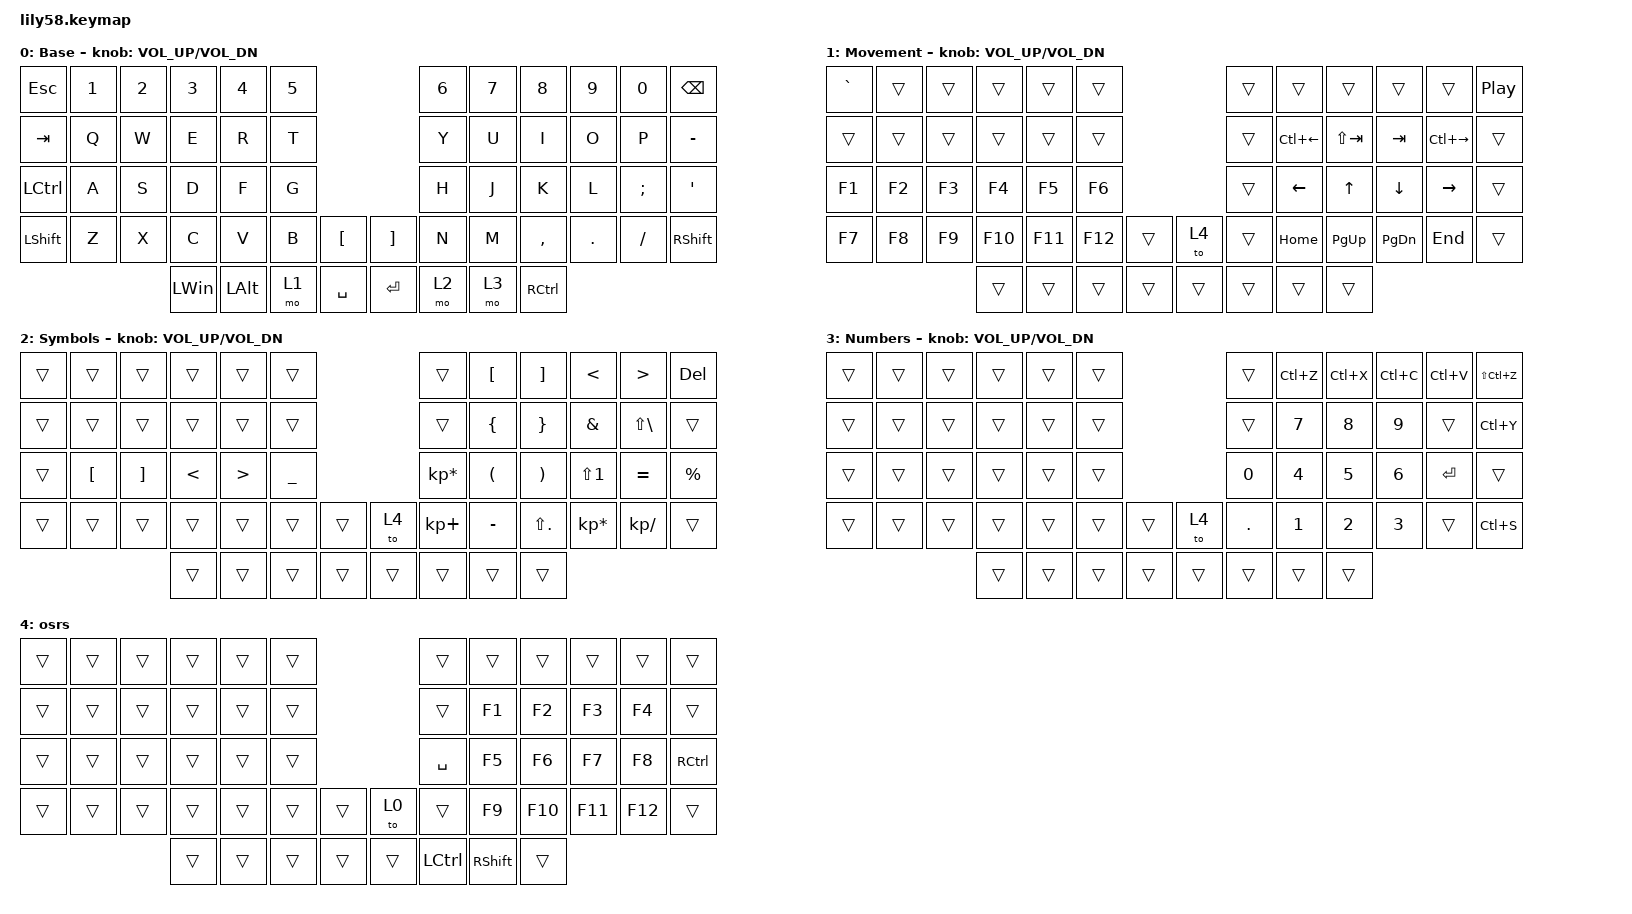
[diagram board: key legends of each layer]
/*
 * Copyright (c) 2020 The ZMK Contributors
 *
 * SPDX-License-Identifier: MIT
 */

#include <behaviors.dtsi>
#include <dt-bindings/zmk/keys.h>

/ {
    keymap {
        compatible = "zmk,keymap";

        default_layer {
            // ------------------------------------------------------------------------------------------------------------
            // |  ESC  |  1  |  2  |  3   |  4   |  5   |                   |  6   |  7    |  8    |  9   |   0   |   `   |
            // |  TAB  |  Q  |  W  |  E   |  R   |  T   |                   |  Y   |  U    |  I    |  O   |   P   |   -   |
            // |  CTRL |  A  |  S  |  D   |  F   |  G   |                   |  H   |  J    |  K    |  L   |   ;   |   '   |
            // | SHIFT |  Z  |  X  |  C   |  V   |  B   |   "["  |  |  "]"  |  N   |  M    |  ,    |  .   |   /   | SHIFT |
            //                     | ALT  | GUI  | LOWER|  SPACE |  | ENTER | RAISE| BSPC  | GUI   |

            display-name = "Base";
            bindings = <
&kp ESC           &kp N1  &kp N2  &kp N3        &kp N4        &kp N5                                  &kp N6  &kp N7  &kp N8             &kp N9   &kp N0    &kp BACKSPACE
&kp TAB           &kp Q   &kp W   &kp E         &kp R         &kp T                                   &kp Y   &kp U   &kp I              &kp O    &kp P     &kp MINUS
&kp LEFT_CONTROL  &kp A   &kp S   &kp D         &kp F         &kp G                                   &kp H   &kp J   &kp K              &kp L    &kp SEMI  &kp SQT
&kp LEFT_SHIFT    &kp Z   &kp X   &kp C         &kp V         &kp B   &kp LBKT     &kp RIGHT_BRACKET  &kp N   &kp M   &kp COMMA          &kp DOT  &kp FSLH  &kp RSHFT
                                  &kp LEFT_WIN  &kp LEFT_ALT  &mo 1   &kp SPACE    &kp RET            &mo 2   &mo 3   &kp RIGHT_CONTROL
            >;

            sensor-bindings = <&inc_dec_kp C_VOL_UP C_VOL_DN>;
        };

        movement {
            display-name = "Movement";
            bindings = <
&kp GRAVE  &trans  &trans  &trans   &trans   &trans                     &trans  &trans        &trans        &trans         &trans         &kp C_PLAY_PAUSE
&trans     &trans  &trans  &trans   &trans   &trans                     &trans  &kp LC(LEFT)  &kp LS(TAB)   &kp TAB        &kp LC(RIGHT)  &trans
&kp F1     &kp F2  &kp F3  &kp F4   &kp F5   &kp F6                     &trans  &kp LEFT      &kp UP_ARROW  &kp DOWN       &kp RIGHT      &trans
&kp F7     &kp F8  &kp F9  &kp F10  &kp F11  &kp F12  &trans    &to 4   &trans  &kp HOME      &kp PG_UP     &kp PAGE_DOWN  &kp END        &trans
                           &trans   &trans   &trans   &trans    &trans  &trans  &trans        &trans
            >;

            sensor-bindings = <&inc_dec_kp C_VOL_UP C_VOL_DN>;
        };

        symbols {
            display-name = "Symbols";
            bindings = <
&trans  &trans            &trans             &trans         &trans            &trans                            &trans           &kp LEFT_BRACKET      &kp RIGHT_BRACKET      &kp LESS_THAN     &kp GREATER_THAN   &kp DELETE
&trans  &trans            &trans             &trans         &trans            &trans                            &trans           &kp LEFT_BRACE        &kp RIGHT_BRACE        &kp AMPERSAND     &kp LS(BACKSLASH)  &trans
&trans  &kp LEFT_BRACKET  &kp RIGHT_BRACKET  &kp LESS_THAN  &kp GREATER_THAN  &kp UNDERSCORE                    &kp KP_ASTERISK  &kp LEFT_PARENTHESIS  &kp RIGHT_PARENTHESIS  &kp LS(NUMBER_1)  &kp EQUAL          &kp PERCENT
&trans  &trans            &trans             &trans         &trans            &trans          &trans    &to 4   &kp KP_PLUS      &kp MINUS             &kp LS(PERIOD)         &kp KP_MULTIPLY   &kp KP_DIVIDE      &trans
                                             &trans         &trans            &trans          &trans    &trans  &trans           &trans                &trans
            >;

            sensor-bindings = <&inc_dec_kp C_VOL_UP C_VOL_DN>;
        };

        numbers {
            display-name = "Numbers";
            bindings = <
&trans  &trans  &trans  &trans  &trans  &trans                    &trans      &kp LC(Z)     &kp LC(X)     &kp LC(C)     &kp LC(V)  &kp LS(LC(Z))
&trans  &trans  &trans  &trans  &trans  &trans                    &trans      &kp NUMBER_7  &kp NUMBER_8  &kp N9        &trans     &kp LC(Y)
&trans  &trans  &trans  &trans  &trans  &trans                    &kp N0      &kp NUMBER_4  &kp N5        &kp NUMBER_6  &kp ENTER  &trans
&trans  &trans  &trans  &trans  &trans  &trans  &trans    &to 4   &kp PERIOD  &kp NUMBER_1  &kp NUMBER_2  &kp NUMBER_3  &trans     &kp LC(S)
                        &trans  &trans  &trans  &trans    &trans  &trans      &trans        &trans
            >;

            sensor-bindings = <&inc_dec_kp C_VOL_UP C_VOL_DN>;
        };

        osrs {
            bindings = <
&trans  &trans  &trans  &trans  &trans  &trans                    &trans            &trans           &trans   &trans   &trans   &trans
&trans  &trans  &trans  &trans  &trans  &trans                    &trans            &kp F1           &kp F2   &kp F3   &kp F4   &trans
&trans  &trans  &trans  &trans  &trans  &trans                    &kp SPACE         &kp F5           &kp F6   &kp F7   &kp F8   &kp RCTRL
&trans  &trans  &trans  &trans  &trans  &trans  &trans    &to 0   &trans            &kp F9           &kp F10  &kp F11  &kp F12  &trans
                        &trans  &trans  &trans  &trans    &trans  &kp LEFT_CONTROL  &kp RIGHT_SHIFT  &trans
            >;
        };
    };
};
